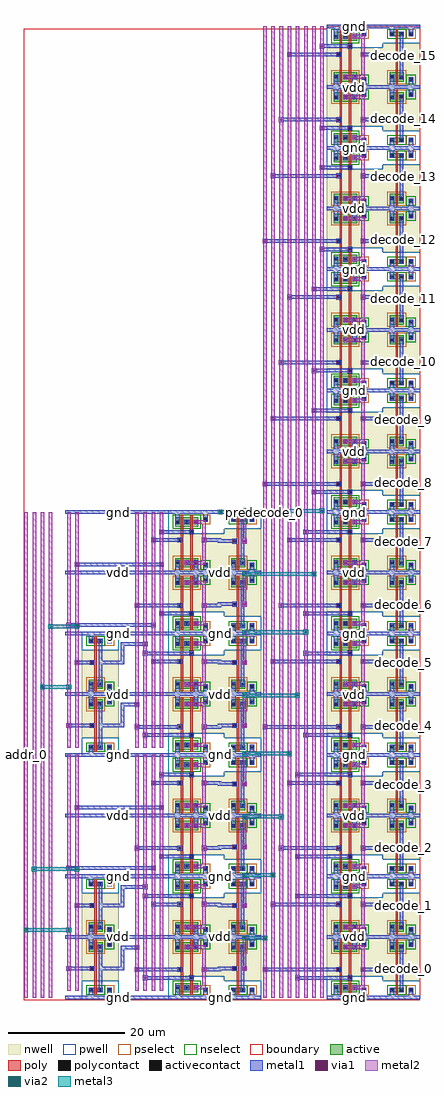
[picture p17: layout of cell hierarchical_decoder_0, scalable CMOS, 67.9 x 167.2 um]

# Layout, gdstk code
import gdstk
lib = gdstk.Library(unit=1e-6, precision=1e-09)
def R(c, l, rs):  # rectangles x0, y0, x1, y1
    for r in rs: c.add(gdstk.rectangle(r[:2], r[2:], *l))
def A(c, l, x, y, w, h, nx, ny, dx, dy):  # array of equal rectangles
    R(c, l, [(x+i*dx, y+j*dy, x+i*dx+w, y+j*dy+h) for i in range(nx) for j in range(ny)])
pwell = (41, 0)
nwell = (42, 0)
active = (43, 0)
pselect = (44, 0)
nselect = (45, 0)
poly = (46, 0)
polycontact = (47, 0)
activecontact = (48, 0)
metal1 = (49, 0)
via1 = (50, 0)
metal2 = (51, 0)
via2 = (61, 0)
metal3 = (62, 0)
boundary = (63, 0)

contact_9 = lib.new_cell('contact_9')
R(contact_9, nwell, [(-1.2,-1.2,2,2)])
R(contact_9, active, [(0,0,0.8,0.8)])
R(contact_9, pselect, [(-0.4,-0.4,1.2,1.2)])
R(contact_9, activecontact, [(0.2,0.2,0.6,0.6)])
R(contact_9, metal1, [(0,0,0.8,0.8)])

pmos_m1_w1_600_a_p = lib.new_cell('pmos_m1_w1_600_a_p')
R(pmos_m1_w1_600_a_p, nwell, [(-1.2,-1.2,3.6,2.8)])
R(pmos_m1_w1_600_a_p, active, [(0,0,2.4,1.6)])
R(pmos_m1_w1_600_a_p, pselect, [(-0.4,-0.4,2.8,2)])
R(pmos_m1_w1_600_a_p, poly, [(1,-0.4,1.4,2), (1,-0.4,1.4,2)])
R(pmos_m1_w1_600_a_p, metal1, [(0,0.4,0.8,1.2), (1.6,0.4,2.4,1.2)])
pmos_m1_w1_600_a_p.add(gdstk.Reference(contact_9, (0,0.4)))
pmos_m1_w1_600_a_p.add(gdstk.Reference(contact_9, (1.6,0.4)))
pmos_m1_w1_600_a_p.add(gdstk.Label('G', (1.2,0.8), layer=46, texttype=0))
pmos_m1_w1_600_a_p.add(gdstk.Label('S', (0.4,0.8), layer=49, texttype=0))
pmos_m1_w1_600_a_p.add(gdstk.Label('D', (2,0.8), layer=49, texttype=0))

contact_14 = lib.new_cell('contact_14')
R(contact_14, pwell, [(-1.2,-1.2,2,2)])
R(contact_14, active, [(0,0,0.8,0.8)])
R(contact_14, nselect, [(-0.4,-0.4,1.2,1.2)])
R(contact_14, activecontact, [(0.2,0.2,0.6,0.6)])
R(contact_14, metal1, [(0,0,0.8,0.8)])

nmos_m1_w0_800_a_p = lib.new_cell('nmos_m1_w0_800_a_p')
R(nmos_m1_w0_800_a_p, pwell, [(-1.2,-1.2,3.6,2)])
R(nmos_m1_w0_800_a_p, active, [(0,0,2.4,0.8)])
R(nmos_m1_w0_800_a_p, nselect, [(-0.4,-0.4,2.8,1.2)])
R(nmos_m1_w0_800_a_p, poly, [(1,-0.4,1.4,1.2), (1,-0.4,1.4,1.2)])
R(nmos_m1_w0_800_a_p, metal1, [(0,0,0.8,0.8), (1.6,0,2.4,0.8)])
nmos_m1_w0_800_a_p.add(gdstk.Reference(contact_14, (0,0)))
nmos_m1_w0_800_a_p.add(gdstk.Reference(contact_14, (1.6,0)))
nmos_m1_w0_800_a_p.add(gdstk.Label('G', (1.2,0.4), layer=46, texttype=0))
nmos_m1_w0_800_a_p.add(gdstk.Label('S', (0.4,0.4), layer=49, texttype=0))
nmos_m1_w0_800_a_p.add(gdstk.Label('D', (2,0.4), layer=49, texttype=0))

contact_15 = lib.new_cell('contact_15')
R(contact_15, nwell, [(-1.2,-1.2,2,2)])
R(contact_15, active, [(0,0,0.8,0.8)])
R(contact_15, nselect, [(-0.4,-0.4,1.2,1.2)])
R(contact_15, activecontact, [(0.2,0.2,0.6,0.6)])
R(contact_15, metal1, [(0,0,0.8,0.8)])

contact_16 = lib.new_cell('contact_16')
R(contact_16, pwell, [(-1.2,-1.2,2,2)])
R(contact_16, active, [(0,0,0.8,0.8)])
R(contact_16, pselect, [(-0.4,-0.4,1.2,1.2)])
R(contact_16, activecontact, [(0.2,0.2,0.6,0.6)])
R(contact_16, metal1, [(0,0,0.8,0.8)])

contact_10 = lib.new_cell('contact_10')
R(contact_10, poly, [(0,0,0.8,0.8)])
R(contact_10, polycontact, [(0.2,0.2,0.6,0.6)])
R(contact_10, metal1, [(0,0,0.8,0.8)])

pinv_0 = lib.new_cell('pinv_0')
R(pinv_0, pwell, [(0,-0.3,6.4,2.9)])
R(pinv_0, nwell, [(0,2.9,6.4,10.7)])
R(pinv_0, poly, [(2.2,0.5,2.6,7.5), (1.8,4.6,2.2,5.4)])
R(pinv_0, metal1, [(0,-0.3,6.4,0.3), (1.2,-0.3,2,0.9), (4.4,0,5.2,1.3), (2.9,0.9,3.5,9.1), (1.4,4.6,2.2,5.4), (3.2,4.7,3.8,5.3), (1.2,8.3,2,10.7), (4.4,9.1,5.2,10.4), (0,10.1,6.4,10.7)])
R(pinv_0, boundary, [(0,0,6.4,10.4)])
pinv_0.add(gdstk.Reference(pmos_m1_w1_600_a_p, (1.2,7.9)))
pinv_0.add(gdstk.Reference(nmos_m1_w0_800_a_p, (1.2,0.9)))
pinv_0.add(gdstk.Reference(contact_15, (4.4,8.7)))
pinv_0.add(gdstk.Reference(contact_16, (4.4,0.9)))
pinv_0.add(gdstk.Reference(contact_10, (1.4,4.6)))
pinv_0.add(gdstk.Label('gnd', (3.2,0), layer=49, texttype=0))
pinv_0.add(gdstk.Label('vdd', (3.2,10.4), layer=49, texttype=0))
pinv_0.add(gdstk.Label('A', (1.8,5), layer=49, texttype=0))
pinv_0.add(gdstk.Label('Z', (3.5,5), layer=49, texttype=0))

nmos_m1_w1_600_a_p = lib.new_cell('nmos_m1_w1_600_a_p')
R(nmos_m1_w1_600_a_p, pwell, [(-1.2,-1.2,3.6,2.8)])
R(nmos_m1_w1_600_a_p, active, [(0,0,2.4,1.6)])
R(nmos_m1_w1_600_a_p, nselect, [(-0.4,-0.4,2.8,2)])
R(nmos_m1_w1_600_a_p, poly, [(1,-0.4,1.4,2), (1,-0.4,1.4,2)])
R(nmos_m1_w1_600_a_p, metal1, [(0,0.4,0.8,1.2), (1.6,0.4,2.4,1.2)])
nmos_m1_w1_600_a_p.add(gdstk.Reference(contact_14, (0,0.4)))
nmos_m1_w1_600_a_p.add(gdstk.Reference(contact_14, (1.6,0.4)))
nmos_m1_w1_600_a_p.add(gdstk.Label('G', (1.2,0.8), layer=46, texttype=0))
nmos_m1_w1_600_a_p.add(gdstk.Label('S', (0.4,0.8), layer=49, texttype=0))
nmos_m1_w1_600_a_p.add(gdstk.Label('D', (2,0.8), layer=49, texttype=0))

contact_17 = lib.new_cell('contact_17')
R(contact_17, metal1, [(0,0,0.8,0.8)])
R(contact_17, via1, [(0.2,0.2,0.6,0.6)])
R(contact_17, metal2, [(0,0,0.8,0.8)])

contact_18 = lib.new_cell('contact_18')
R(contact_18, metal1, [(0,0,0.8,0.8)])
R(contact_18, via1, [(0.2,0.2,0.6,0.6)])
R(contact_18, metal2, [(0,0,0.8,0.8)])

pnand2_0 = lib.new_cell('pnand2_0')
R(pnand2_0, pwell, [(0,-0.3,9.6,3.7)])
R(pnand2_0, nwell, [(0,3.7,9.6,10.7)])
R(pnand2_0, poly, [(2.2,0.5,2.6,7.5), (3.8,0.5,4.2,7.5), (3.8,3,4,3.8), (2,4.4,2.2,5.2)])
R(pnand2_0, metal1, [(0,-0.3,9.6,0.3), (1.2,-0.3,2,1.3), (6,0,6.8,1.3), (3.6,3,4.4,3.8), (1.6,4.4,2.4,5.2), (5.8,4.4,6.6,5.2), (1.2,8.3,2,10.7), (4.4,8.3,5.2,10.7), (6,9.1,6.8,10.4), (0,10.1,9.6,10.7)])
R(pnand2_0, metal2, [(4.8,1.4,6.2,2), (5.9,1.4,6.5,2), (5.9,1.7,6.5,4.8), (5.9,4.8,6.5,8.7), (3.2,8.4,6.2,9), (5.9,8.4,6.5,9)])
R(pnand2_0, boundary, [(0,0,9.6,10.4)])
pnand2_0.add(gdstk.Reference(pmos_m1_w1_600_a_p, (1.2,7.9)))
pnand2_0.add(gdstk.Reference(pmos_m1_w1_600_a_p, (2.8,7.9)))
pnand2_0.add(gdstk.Reference(nmos_m1_w1_600_a_p, (1.2,0.9)))
pnand2_0.add(gdstk.Reference(nmos_m1_w1_600_a_p, (2.8,0.9)))
pnand2_0.add(gdstk.Reference(contact_15, (6,8.7)))
pnand2_0.add(gdstk.Reference(contact_16, (6,0.9)))
pnand2_0.add(gdstk.Reference(contact_10, (3.6,3)))
pnand2_0.add(gdstk.Reference(contact_10, (1.6,4.4)))
pnand2_0.add(gdstk.Reference(contact_17, (2.8,8.3)))
pnand2_0.add(gdstk.Reference(contact_17, (4.4,1.3)))
pnand2_0.add(gdstk.Reference(contact_18, (5.8,4.4)))
pnand2_0.add(gdstk.Label('gnd', (4.8,0), layer=49, texttype=0))
pnand2_0.add(gdstk.Label('vdd', (4.8,10.4), layer=49, texttype=0))
pnand2_0.add(gdstk.Label('B', (4,3.4), layer=49, texttype=0))
pnand2_0.add(gdstk.Label('A', (2,4.8), layer=49, texttype=0))
pnand2_0.add(gdstk.Label('Z', (6.2,4.8), layer=49, texttype=0))

contact_5 = lib.new_cell('contact_5')
R(contact_5, metal1, [(0,0,0.8,0.8)])
R(contact_5, via1, [(0.2,0.2,0.6,0.6)])
R(contact_5, metal2, [(0,0,0.8,0.8)])

contact_6 = lib.new_cell('contact_6')
R(contact_6, metal2, [(0,0,0.8,0.8)])
R(contact_6, via2, [(0.2,0.2,0.6,0.6)])
R(contact_6, metal3, [(0,0,0.8,0.8)])

hierarchical_predecode2x = lib.new_cell('hierarchical_predecode2x4_0')
R(hierarchical_predecode2x, metal1, [(0,-0.3,33.6,0.3), (13.7,3.1,21.2,3.7), (12.3,4.5,19.2,5.1), (24.2,4.5,26.4,5.1), (26.1,4.5,26.7,5.1), (0.6,4.7,4.2,5.3), (6.6,4.7,9.8,5.3), (9.5,4.7,10.1,5.3), (26.1,4.7,26.7,5.3), (26.4,4.7,28.6,5.3), (30.4,4.7,31,5.3), (26.1,4.8,26.7,5), (9.5,5,10.1,8.6), (9.5,8.3,10.1,8.9), (9.8,8.3,12.3,8.9), (0,10.1,33.6,10.7), (0,10.1,33.6,10.7), (2,15.5,4.2,16.1), (6.6,15.5,9.8,16.1), (9.5,15.5,10.1,16.1), (26.1,15.5,26.7,16.1), (26.4,15.5,28.6,16.1), (30.4,15.5,31,16.1), (15.1,15.7,19.2,16.3), (24.2,15.7,26.4,16.3), (26.1,15.7,26.7,16.3), (9.5,15.8,10.1,19), (26.1,15.8,26.7,16), (13.7,17.1,21.2,17.7), (9.5,18.7,10.1,19.3), (9.8,18.7,13.7,19.3), (0,20.5,33.6,21.1), (0,20.5,33.6,21.1), (0.6,21.9,15.1,22.5), (16.5,23.9,21.2,24.5), (12.3,25.3,19.2,25.9), (24.2,25.3,26.4,25.9), (26.1,25.3,26.7,25.9), (26.1,25.5,26.7,26.1), (26.4,25.5,28.6,26.1), (30.4,25.5,31,26.1), (26.1,25.6,26.7,25.8), (0,30.9,33.6,31.5), (0,30.9,33.6,31.5), (2,32.3,16.5,32.9), (26.1,36.3,26.7,36.9), (26.4,36.3,28.6,36.9), (30.4,36.3,31,36.9), (15.1,36.5,19.2,37.1), (24.2,36.5,26.4,37.1), (26.1,36.5,26.7,37.1), (26.1,36.6,26.7,36.8), (16.5,37.9,21.2,38.5), (0,41.3,33.6,41.9)])
A(hierarchical_predecode2x, metal2, 12, 1.2, 0.6, 40.4, 4, 1, 1.4, 0)
R(hierarchical_predecode2x, metal2, [(0.3,1.2,0.9,41.6), (1.7,1.2,2.3,41.6)])
A(hierarchical_predecode2x, metal3, 8.8, -0.4, 0.8, 0.8, 1, 5, 0, 10.4)
A(hierarchical_predecode2x, metal3, 26.2, -0.4, 0.8, 0.8, 1, 5, 0, 10.4)
R(hierarchical_predecode2x, boundary, [(0,0,33.6,41.6)])
hierarchical_predecode2x.add(gdstk.Reference(pinv_0, (2.8,0)))
hierarchical_predecode2x.add(gdstk.Reference(pinv_0, (2.8,20.8), x_reflection=True))
hierarchical_predecode2x.add(gdstk.Reference(pinv_0, (27.2,0)))
hierarchical_predecode2x.add(gdstk.Reference(pinv_0, (27.2,20.8), x_reflection=True))
hierarchical_predecode2x.add(gdstk.Reference(pinv_0, (27.2,20.8)))
hierarchical_predecode2x.add(gdstk.Reference(pinv_0, (27.2,41.6), x_reflection=True))
hierarchical_predecode2x.add(gdstk.Reference(pnand2_0, (17.6,0)))
hierarchical_predecode2x.add(gdstk.Reference(pnand2_0, (17.6,20.8), x_reflection=True))
hierarchical_predecode2x.add(gdstk.Reference(pnand2_0, (17.6,20.8)))
hierarchical_predecode2x.add(gdstk.Reference(pnand2_0, (17.6,41.6), x_reflection=True))
hierarchical_predecode2x.add(gdstk.Reference(contact_18, (11.9,8.2)))
hierarchical_predecode2x.add(gdstk.Reference(contact_18, (0.2,4.6)))
hierarchical_predecode2x.add(gdstk.Reference(contact_18, (13.3,18.6)))
hierarchical_predecode2x.add(gdstk.Reference(contact_18, (1.6,15.4)))
hierarchical_predecode2x.add(gdstk.Reference(contact_18, (0.2,21.8)))
hierarchical_predecode2x.add(gdstk.Reference(contact_18, (14.7,21.8)))
hierarchical_predecode2x.add(gdstk.Reference(contact_18, (1.6,32.2)))
hierarchical_predecode2x.add(gdstk.Reference(contact_18, (16.1,32.2)))
hierarchical_predecode2x.add(gdstk.Reference(contact_18, (11.9,4.4)))
hierarchical_predecode2x.add(gdstk.Reference(contact_18, (13.3,3)))
hierarchical_predecode2x.add(gdstk.Reference(contact_18, (14.7,15.6)))
hierarchical_predecode2x.add(gdstk.Reference(contact_18, (13.3,17)))
hierarchical_predecode2x.add(gdstk.Reference(contact_18, (11.9,25.2)))
hierarchical_predecode2x.add(gdstk.Reference(contact_18, (16.1,23.8)))
hierarchical_predecode2x.add(gdstk.Reference(contact_18, (14.7,36.4)))
hierarchical_predecode2x.add(gdstk.Reference(contact_18, (16.1,37.8)))
hierarchical_predecode2x.add(gdstk.Reference(contact_5, (8.8,10)))
hierarchical_predecode2x.add(gdstk.Reference(contact_6, (8.8,10)))
hierarchical_predecode2x.add(gdstk.Reference(contact_5, (26.2,10)))
hierarchical_predecode2x.add(gdstk.Reference(contact_6, (26.2,10)))
hierarchical_predecode2x.add(gdstk.Reference(contact_5, (8.8,-0.4)))
hierarchical_predecode2x.add(gdstk.Reference(contact_6, (8.8,-0.4)))
hierarchical_predecode2x.add(gdstk.Reference(contact_5, (26.2,-0.4)))
hierarchical_predecode2x.add(gdstk.Reference(contact_6, (26.2,-0.4)))
hierarchical_predecode2x.add(gdstk.Reference(contact_5, (8.8,10)))
hierarchical_predecode2x.add(gdstk.Reference(contact_6, (8.8,10)))
hierarchical_predecode2x.add(gdstk.Reference(contact_5, (26.2,10)))
hierarchical_predecode2x.add(gdstk.Reference(contact_6, (26.2,10)))
hierarchical_predecode2x.add(gdstk.Reference(contact_5, (8.8,20.4)))
hierarchical_predecode2x.add(gdstk.Reference(contact_6, (8.8,20.4)))
hierarchical_predecode2x.add(gdstk.Reference(contact_5, (26.2,20.4)))
hierarchical_predecode2x.add(gdstk.Reference(contact_6, (26.2,20.4)))
hierarchical_predecode2x.add(gdstk.Reference(contact_5, (8.8,30.8)))
hierarchical_predecode2x.add(gdstk.Reference(contact_6, (8.8,30.8)))
hierarchical_predecode2x.add(gdstk.Reference(contact_5, (26.2,30.8)))
hierarchical_predecode2x.add(gdstk.Reference(contact_6, (26.2,30.8)))
hierarchical_predecode2x.add(gdstk.Reference(contact_5, (8.8,20.4)))
hierarchical_predecode2x.add(gdstk.Reference(contact_6, (8.8,20.4)))
hierarchical_predecode2x.add(gdstk.Reference(contact_5, (26.2,20.4)))
hierarchical_predecode2x.add(gdstk.Reference(contact_6, (26.2,20.4)))
hierarchical_predecode2x.add(gdstk.Reference(contact_5, (8.8,30.8)))
hierarchical_predecode2x.add(gdstk.Reference(contact_6, (8.8,30.8)))
hierarchical_predecode2x.add(gdstk.Reference(contact_5, (26.2,30.8)))
hierarchical_predecode2x.add(gdstk.Reference(contact_6, (26.2,30.8)))
hierarchical_predecode2x.add(gdstk.Reference(contact_5, (8.8,41.2)))
hierarchical_predecode2x.add(gdstk.Reference(contact_6, (8.8,41.2)))
hierarchical_predecode2x.add(gdstk.Reference(contact_5, (26.2,41.2)))
hierarchical_predecode2x.add(gdstk.Reference(contact_6, (26.2,41.2)))
hierarchical_predecode2x.add(gdstk.Label('in_0', (0.6,21.4), layer=51, texttype=0))
hierarchical_predecode2x.add(gdstk.Label('in_1', (2,21.4), layer=51, texttype=0))
hierarchical_predecode2x.add(gdstk.Label('out_0', (30.7,5), layer=49, texttype=0))
hierarchical_predecode2x.add(gdstk.Label('out_1', (30.7,15.8), layer=49, texttype=0))
hierarchical_predecode2x.add(gdstk.Label('out_2', (30.7,25.8), layer=49, texttype=0))
hierarchical_predecode2x.add(gdstk.Label('out_3', (30.7,36.6), layer=49, texttype=0))
hierarchical_predecode2x.add(gdstk.Label('vdd', (9.2,10.4), layer=62, texttype=0))
hierarchical_predecode2x.add(gdstk.Label('vdd', (9.2,31.2), layer=62, texttype=0))
hierarchical_predecode2x.add(gdstk.Label('vdd', (26.6,31.2), layer=62, texttype=0))
hierarchical_predecode2x.add(gdstk.Label('vdd', (26.6,10.4), layer=62, texttype=0))
hierarchical_predecode2x.add(gdstk.Label('gnd', (9.2,20.8), layer=62, texttype=0))
hierarchical_predecode2x.add(gdstk.Label('gnd', (9.2,0), layer=62, texttype=0))
hierarchical_predecode2x.add(gdstk.Label('gnd', (9.2,41.6), layer=62, texttype=0))
hierarchical_predecode2x.add(gdstk.Label('gnd', (26.6,0), layer=62, texttype=0))
hierarchical_predecode2x.add(gdstk.Label('gnd', (26.6,20.8), layer=62, texttype=0))
hierarchical_predecode2x.add(gdstk.Label('gnd', (26.6,41.6), layer=62, texttype=0))

contact_7 = lib.new_cell('contact_7')
R(contact_7, metal2, [(0,0,0.8,0.8)])
R(contact_7, via2, [(0.2,0.2,0.6,0.6)])
R(contact_7, metal3, [(0,0,0.8,0.8)])

contact_20 = lib.new_cell('contact_20')
R(contact_20, metal2, [(0,0,0.8,0.8)])
R(contact_20, via2, [(0.2,0.2,0.6,0.6)])
R(contact_20, metal3, [(0,0,0.8,0.8)])

hierarchical_decoder_0 = lib.new_cell('hierarchical_decoder_0')
A(hierarchical_decoder_0, metal1, 51.9, 0.1, 16, 0.6, 1, 16, 0, 10.4)
A(hierarchical_decoder_0, metal1, 41.3, 4.9, 12.2, 0.6, 1, 4, 0, 41.6)
A(hierarchical_decoder_0, metal1, 42.7, 16.1, 10.8, 0.6, 1, 4, 0, 41.6)
A(hierarchical_decoder_0, metal1, 44.1, 25.7, 9.4, 0.6, 1, 4, 0, 41.6)
A(hierarchical_decoder_0, metal1, 45.5, 36.9, 8, 0.6, 1, 4, 0, 41.6)
R(hierarchical_decoder_0, metal1, [(46.9,3.5,55.5,4.1), (58.5,4.9,60.7,5.5), (60.4,4.9,61,5.5), (60.4,5.1,61,5.7), (60.7,5.1,62.9,5.7), (64.7,5.1,65.3,5.7), (60.4,5.2,61,5.4), (60.4,15.9,61,16.5), (60.7,15.9,62.9,16.5), (64.7,15.9,65.3,16.5), (58.5,16.1,60.7,16.7), (60.4,16.1,61,16.7), (60.4,16.2,61,16.4), (46.9,17.5,55.5,18.1), (46.9,24.3,55.5,24.9), (58.5,25.7,60.7,26.3), (60.4,25.7,61,26.3), (60.4,25.9,61,26.5), (60.7,25.9,62.9,26.5), (64.7,25.9,65.3,26.5), (60.4,26,61,26.2), (60.4,36.7,61,37.3), (60.7,36.7,62.9,37.3), (64.7,36.7,65.3,37.3), (58.5,36.9,60.7,37.5), (60.4,36.9,61,37.5), (60.4,37,61,37.2), (46.9,38.3,55.5,38.9), (48.3,45.1,55.5,45.7), (58.5,46.5,60.7,47.1), (60.4,46.5,61,47.1), (60.4,46.7,61,47.3), (60.7,46.7,62.9,47.3), (64.7,46.7,65.3,47.3), (60.4,46.8,61,47), (60.4,57.5,61,58.1), (60.7,57.5,62.9,58.1), (64.7,57.5,65.3,58.1), (58.5,57.7,60.7,58.3), (60.4,57.7,61,58.3), (60.4,57.8,61,58), (48.3,59.1,55.5,59.7), (48.3,65.9,55.5,66.5), (58.5,67.3,60.7,67.9), (60.4,67.3,61,67.9), (60.4,67.5,61,68.1), (60.7,67.5,62.9,68.1), (64.7,67.5,65.3,68.1), (60.4,67.6,61,67.8), (60.4,78.3,61,78.9), (60.7,78.3,62.9,78.9), (64.7,78.3,65.3,78.9), (58.5,78.5,60.7,79.1), (60.4,78.5,61,79.1), (60.4,78.6,61,78.8), (48.3,79.9,55.5,80.5), (49.7,86.7,55.5,87.3), (58.5,88.1,60.7,88.7), (60.4,88.1,61,88.7), (60.4,88.3,61,88.9), (60.7,88.3,62.9,88.9), (64.7,88.3,65.3,88.9), (60.4,88.4,61,88.6), (60.4,99.1,61,99.7), (60.7,99.1,62.9,99.7), (64.7,99.1,65.3,99.7), (58.5,99.3,60.7,99.9), (60.4,99.3,61,99.9), (60.4,99.4,61,99.6), (49.7,100.7,55.5,101.3), (49.7,107.5,55.5,108.1), (58.5,108.9,60.7,109.5), (60.4,108.9,61,109.5), (60.4,109.1,61,109.7), (60.7,109.1,62.9,109.7), (64.7,109.1,65.3,109.7), (60.4,109.2,61,109.4), (60.4,119.9,61,120.5), (60.7,119.9,62.9,120.5), (64.7,119.9,65.3,120.5), (58.5,120.1,60.7,120.7), (60.4,120.1,61,120.7), (60.4,120.2,61,120.4), (49.7,121.5,55.5,122.1), (51.1,128.3,55.5,128.9), (58.5,129.7,60.7,130.3), (60.4,129.7,61,130.3), (60.4,129.9,61,130.5), (60.7,129.9,62.9,130.5), (64.7,129.9,65.3,130.5), (60.4,130,61,130.2), (60.4,140.7,61,141.3), (60.7,140.7,62.9,141.3), (64.7,140.7,65.3,141.3), (58.5,140.9,60.7,141.5), (60.4,140.9,61,141.5), (60.4,141,61,141.2), (51.1,142.3,55.5,142.9), (51.1,149.1,55.5,149.7), (58.5,150.5,60.7,151.1), (60.4,150.5,61,151.1), (60.4,150.7,61,151.3), (60.7,150.7,62.9,151.3), (64.7,150.7,65.3,151.3), (60.4,150.8,61,151), (60.4,161.5,61,162.1), (60.7,161.5,62.9,162.1), (64.7,161.5,65.3,162.1), (58.5,161.7,60.7,162.3), (60.4,161.7,61,162.3), (60.4,161.8,61,162), (51.1,163.1,55.5,163.7)])
A(hierarchical_decoder_0, metal2, 0.1, 0.4, 0.6, 83.2, 4, 1, 1.4, 0)
A(hierarchical_decoder_0, metal2, 41, 0.4, 0.6, 166.4, 8, 1, 1.4, 0)
R(hierarchical_decoder_0, metal2, [(37.5,5.7,38.1,10.6), (37.5,16.5,38.1,21.4), (37.5,26.5,38.1,31.4), (37.5,37.3,38.1,42.2), (37.5,47.3,38.1,52.2), (37.5,58.1,38.1,63), (37.5,68.1,38.1,73), (37.5,78.9,38.1,83.8)])
A(hierarchical_decoder_0, metal3, 15.9, 0, 0.8, 0.8, 1, 9, 0, 10.4)
A(hierarchical_decoder_0, metal3, 33.3, 0, 0.8, 0.8, 1, 9, 0, 10.4)
A(hierarchical_decoder_0, metal3, 56.3, 0, 0.8, 0.8, 1, 17, 0, 10.4)
R(hierarchical_decoder_0, metal3, [(37.8,10.3,41.3,10.9), (0.4,11.7,7.7,12.3), (37.8,21.1,42.7,21.7), (1.8,22.1,9.1,22.7), (37.8,31.1,44.1,31.7), (37.8,41.9,45.5,42.5), (37.8,51.9,46.9,52.5), (3.2,53.3,7.7,53.9), (37.8,62.7,48.3,63.3), (4.6,63.7,9.1,64.3), (37.8,72.7,49.7,73.3), (37.8,83.5,51.1,84.1)])
R(hierarchical_decoder_0, boundary, [(0,0,67.8,166.4)])
hierarchical_decoder_0.add(gdstk.Reference(hierarchical_predecode2x, (7.1,0.4)))
hierarchical_decoder_0.add(gdstk.Reference(hierarchical_predecode2x, (7.1,42)))
hierarchical_decoder_0.add(gdstk.Reference(pnand2_0, (51.9,0.4)))
hierarchical_decoder_0.add(gdstk.Reference(pnand2_0, (51.9,21.2), x_reflection=True))
hierarchical_decoder_0.add(gdstk.Reference(pnand2_0, (51.9,21.2)))
hierarchical_decoder_0.add(gdstk.Reference(pnand2_0, (51.9,42), x_reflection=True))
hierarchical_decoder_0.add(gdstk.Reference(pnand2_0, (51.9,42)))
hierarchical_decoder_0.add(gdstk.Reference(pnand2_0, (51.9,62.8), x_reflection=True))
hierarchical_decoder_0.add(gdstk.Reference(pnand2_0, (51.9,62.8)))
hierarchical_decoder_0.add(gdstk.Reference(pnand2_0, (51.9,83.6), x_reflection=True))
hierarchical_decoder_0.add(gdstk.Reference(pnand2_0, (51.9,83.6)))
hierarchical_decoder_0.add(gdstk.Reference(pnand2_0, (51.9,104.4), x_reflection=True))
hierarchical_decoder_0.add(gdstk.Reference(pnand2_0, (51.9,104.4)))
hierarchical_decoder_0.add(gdstk.Reference(pnand2_0, (51.9,125.2), x_reflection=True))
hierarchical_decoder_0.add(gdstk.Reference(pnand2_0, (51.9,125.2)))
hierarchical_decoder_0.add(gdstk.Reference(pnand2_0, (51.9,146), x_reflection=True))
hierarchical_decoder_0.add(gdstk.Reference(pnand2_0, (51.9,146)))
hierarchical_decoder_0.add(gdstk.Reference(pnand2_0, (51.9,166.8), x_reflection=True))
hierarchical_decoder_0.add(gdstk.Reference(pinv_0, (61.5,0.4)))
hierarchical_decoder_0.add(gdstk.Reference(pinv_0, (61.5,21.2), x_reflection=True))
hierarchical_decoder_0.add(gdstk.Reference(pinv_0, (61.5,21.2)))
hierarchical_decoder_0.add(gdstk.Reference(pinv_0, (61.5,42), x_reflection=True))
hierarchical_decoder_0.add(gdstk.Reference(pinv_0, (61.5,42)))
hierarchical_decoder_0.add(gdstk.Reference(pinv_0, (61.5,62.8), x_reflection=True))
hierarchical_decoder_0.add(gdstk.Reference(pinv_0, (61.5,62.8)))
hierarchical_decoder_0.add(gdstk.Reference(pinv_0, (61.5,83.6), x_reflection=True))
hierarchical_decoder_0.add(gdstk.Reference(pinv_0, (61.5,83.6)))
hierarchical_decoder_0.add(gdstk.Reference(pinv_0, (61.5,104.4), x_reflection=True))
hierarchical_decoder_0.add(gdstk.Reference(pinv_0, (61.5,104.4)))
hierarchical_decoder_0.add(gdstk.Reference(pinv_0, (61.5,125.2), x_reflection=True))
hierarchical_decoder_0.add(gdstk.Reference(pinv_0, (61.5,125.2)))
hierarchical_decoder_0.add(gdstk.Reference(pinv_0, (61.5,146), x_reflection=True))
hierarchical_decoder_0.add(gdstk.Reference(pinv_0, (61.5,146)))
hierarchical_decoder_0.add(gdstk.Reference(pinv_0, (61.5,166.8), x_reflection=True))
hierarchical_decoder_0.add(gdstk.Reference(contact_7, (7.3,11.6)))
hierarchical_decoder_0.add(gdstk.Reference(contact_7, (0,11.6)))
hierarchical_decoder_0.add(gdstk.Reference(contact_7, (8.7,22)))
hierarchical_decoder_0.add(gdstk.Reference(contact_7, (1.4,22)))
hierarchical_decoder_0.add(gdstk.Reference(contact_7, (7.3,53.2)))
hierarchical_decoder_0.add(gdstk.Reference(contact_7, (2.8,53.2)))
hierarchical_decoder_0.add(gdstk.Reference(contact_7, (8.7,63.6)))
hierarchical_decoder_0.add(gdstk.Reference(contact_7, (4.2,63.6)))
hierarchical_decoder_0.add(gdstk.Reference(contact_18, (37.4,5)))
hierarchical_decoder_0.add(gdstk.Reference(contact_20, (37.4,10.2)))
hierarchical_decoder_0.add(gdstk.Reference(contact_7, (40.9,10.2)))
hierarchical_decoder_0.add(gdstk.Reference(contact_18, (37.4,15.8)))
hierarchical_decoder_0.add(gdstk.Reference(contact_20, (37.4,21)))
hierarchical_decoder_0.add(gdstk.Reference(contact_7, (42.3,21)))
hierarchical_decoder_0.add(gdstk.Reference(contact_18, (37.4,25.8)))
hierarchical_decoder_0.add(gdstk.Reference(contact_20, (37.4,31)))
hierarchical_decoder_0.add(gdstk.Reference(contact_7, (43.7,31)))
hierarchical_decoder_0.add(gdstk.Reference(contact_18, (37.4,36.6)))
hierarchical_decoder_0.add(gdstk.Reference(contact_20, (37.4,41.8)))
hierarchical_decoder_0.add(gdstk.Reference(contact_7, (45.1,41.8)))
hierarchical_decoder_0.add(gdstk.Reference(contact_18, (37.4,46.6)))
hierarchical_decoder_0.add(gdstk.Reference(contact_20, (37.4,51.8)))
hierarchical_decoder_0.add(gdstk.Reference(contact_7, (46.5,51.8)))
hierarchical_decoder_0.add(gdstk.Reference(contact_18, (37.4,57.4)))
hierarchical_decoder_0.add(gdstk.Reference(contact_20, (37.4,62.6)))
hierarchical_decoder_0.add(gdstk.Reference(contact_7, (47.9,62.6)))
hierarchical_decoder_0.add(gdstk.Reference(contact_18, (37.4,67.4)))
hierarchical_decoder_0.add(gdstk.Reference(contact_20, (37.4,72.6)))
hierarchical_decoder_0.add(gdstk.Reference(contact_7, (49.3,72.6)))
hierarchical_decoder_0.add(gdstk.Reference(contact_18, (37.4,78.2)))
hierarchical_decoder_0.add(gdstk.Reference(contact_20, (37.4,83.4)))
hierarchical_decoder_0.add(gdstk.Reference(contact_7, (50.7,83.4)))
hierarchical_decoder_0.add(gdstk.Reference(contact_18, (40.9,4.8)))
hierarchical_decoder_0.add(gdstk.Reference(contact_18, (46.5,3.4)))
hierarchical_decoder_0.add(gdstk.Reference(contact_18, (42.3,16)))
hierarchical_decoder_0.add(gdstk.Reference(contact_18, (46.5,17.4)))
hierarchical_decoder_0.add(gdstk.Reference(contact_18, (43.7,25.6)))
hierarchical_decoder_0.add(gdstk.Reference(contact_18, (46.5,24.2)))
hierarchical_decoder_0.add(gdstk.Reference(contact_18, (45.1,36.8)))
hierarchical_decoder_0.add(gdstk.Reference(contact_18, (46.5,38.2)))
hierarchical_decoder_0.add(gdstk.Reference(contact_18, (40.9,46.4)))
hierarchical_decoder_0.add(gdstk.Reference(contact_18, (47.9,45)))
hierarchical_decoder_0.add(gdstk.Reference(contact_18, (42.3,57.6)))
hierarchical_decoder_0.add(gdstk.Reference(contact_18, (47.9,59)))
hierarchical_decoder_0.add(gdstk.Reference(contact_18, (43.7,67.2)))
hierarchical_decoder_0.add(gdstk.Reference(contact_18, (47.9,65.8)))
hierarchical_decoder_0.add(gdstk.Reference(contact_18, (45.1,78.4)))
hierarchical_decoder_0.add(gdstk.Reference(contact_18, (47.9,79.8)))
hierarchical_decoder_0.add(gdstk.Reference(contact_18, (40.9,88)))
hierarchical_decoder_0.add(gdstk.Reference(contact_18, (49.3,86.6)))
hierarchical_decoder_0.add(gdstk.Reference(contact_18, (42.3,99.2)))
hierarchical_decoder_0.add(gdstk.Reference(contact_18, (49.3,100.6)))
hierarchical_decoder_0.add(gdstk.Reference(contact_18, (43.7,108.8)))
hierarchical_decoder_0.add(gdstk.Reference(contact_18, (49.3,107.4)))
hierarchical_decoder_0.add(gdstk.Reference(contact_18, (45.1,120)))
hierarchical_decoder_0.add(gdstk.Reference(contact_18, (49.3,121.4)))
hierarchical_decoder_0.add(gdstk.Reference(contact_18, (40.9,129.6)))
hierarchical_decoder_0.add(gdstk.Reference(contact_18, (50.7,128.2)))
hierarchical_decoder_0.add(gdstk.Reference(contact_18, (42.3,140.8)))
hierarchical_decoder_0.add(gdstk.Reference(contact_18, (50.7,142.2)))
hierarchical_decoder_0.add(gdstk.Reference(contact_18, (43.7,150.4)))
hierarchical_decoder_0.add(gdstk.Reference(contact_18, (50.7,149)))
hierarchical_decoder_0.add(gdstk.Reference(contact_18, (45.1,161.6)))
hierarchical_decoder_0.add(gdstk.Reference(contact_18, (50.7,163)))
hierarchical_decoder_0.add(gdstk.Reference(contact_5, (56.3,10.4)))
hierarchical_decoder_0.add(gdstk.Reference(contact_6, (56.3,10.4)))
hierarchical_decoder_0.add(gdstk.Reference(contact_5, (56.3,0)))
hierarchical_decoder_0.add(gdstk.Reference(contact_6, (56.3,0)))
hierarchical_decoder_0.add(gdstk.Reference(contact_5, (56.3,10.4)))
hierarchical_decoder_0.add(gdstk.Reference(contact_6, (56.3,10.4)))
hierarchical_decoder_0.add(gdstk.Reference(contact_5, (56.3,20.8)))
hierarchical_decoder_0.add(gdstk.Reference(contact_6, (56.3,20.8)))
hierarchical_decoder_0.add(gdstk.Reference(contact_5, (56.3,31.2)))
hierarchical_decoder_0.add(gdstk.Reference(contact_6, (56.3,31.2)))
hierarchical_decoder_0.add(gdstk.Reference(contact_5, (56.3,20.8)))
hierarchical_decoder_0.add(gdstk.Reference(contact_6, (56.3,20.8)))
hierarchical_decoder_0.add(gdstk.Reference(contact_5, (56.3,31.2)))
hierarchical_decoder_0.add(gdstk.Reference(contact_6, (56.3,31.2)))
hierarchical_decoder_0.add(gdstk.Reference(contact_5, (56.3,41.6)))
hierarchical_decoder_0.add(gdstk.Reference(contact_6, (56.3,41.6)))
hierarchical_decoder_0.add(gdstk.Reference(contact_5, (56.3,52)))
hierarchical_decoder_0.add(gdstk.Reference(contact_6, (56.3,52)))
hierarchical_decoder_0.add(gdstk.Reference(contact_5, (56.3,41.6)))
hierarchical_decoder_0.add(gdstk.Reference(contact_6, (56.3,41.6)))
hierarchical_decoder_0.add(gdstk.Reference(contact_5, (56.3,52)))
hierarchical_decoder_0.add(gdstk.Reference(contact_6, (56.3,52)))
hierarchical_decoder_0.add(gdstk.Reference(contact_5, (56.3,62.4)))
hierarchical_decoder_0.add(gdstk.Reference(contact_6, (56.3,62.4)))
hierarchical_decoder_0.add(gdstk.Reference(contact_5, (56.3,72.8)))
hierarchical_decoder_0.add(gdstk.Reference(contact_6, (56.3,72.8)))
hierarchical_decoder_0.add(gdstk.Reference(contact_5, (56.3,62.4)))
hierarchical_decoder_0.add(gdstk.Reference(contact_6, (56.3,62.4)))
hierarchical_decoder_0.add(gdstk.Reference(contact_5, (56.3,72.8)))
hierarchical_decoder_0.add(gdstk.Reference(contact_6, (56.3,72.8)))
hierarchical_decoder_0.add(gdstk.Reference(contact_5, (56.3,83.2)))
hierarchical_decoder_0.add(gdstk.Reference(contact_6, (56.3,83.2)))
hierarchical_decoder_0.add(gdstk.Reference(contact_5, (56.3,93.6)))
hierarchical_decoder_0.add(gdstk.Reference(contact_6, (56.3,93.6)))
hierarchical_decoder_0.add(gdstk.Reference(contact_5, (56.3,83.2)))
hierarchical_decoder_0.add(gdstk.Reference(contact_6, (56.3,83.2)))
hierarchical_decoder_0.add(gdstk.Reference(contact_5, (56.3,93.6)))
hierarchical_decoder_0.add(gdstk.Reference(contact_6, (56.3,93.6)))
hierarchical_decoder_0.add(gdstk.Reference(contact_5, (56.3,104)))
hierarchical_decoder_0.add(gdstk.Reference(contact_6, (56.3,104)))
hierarchical_decoder_0.add(gdstk.Reference(contact_5, (56.3,114.4)))
hierarchical_decoder_0.add(gdstk.Reference(contact_6, (56.3,114.4)))
hierarchical_decoder_0.add(gdstk.Reference(contact_5, (56.3,104)))
hierarchical_decoder_0.add(gdstk.Reference(contact_6, (56.3,104)))
hierarchical_decoder_0.add(gdstk.Reference(contact_5, (56.3,114.4)))
hierarchical_decoder_0.add(gdstk.Reference(contact_6, (56.3,114.4)))
hierarchical_decoder_0.add(gdstk.Reference(contact_5, (56.3,124.8)))
hierarchical_decoder_0.add(gdstk.Reference(contact_6, (56.3,124.8)))
hierarchical_decoder_0.add(gdstk.Reference(contact_5, (56.3,135.2)))
hierarchical_decoder_0.add(gdstk.Reference(contact_6, (56.3,135.2)))
hierarchical_decoder_0.add(gdstk.Reference(contact_5, (56.3,124.8)))
hierarchical_decoder_0.add(gdstk.Reference(contact_6, (56.3,124.8)))
hierarchical_decoder_0.add(gdstk.Reference(contact_5, (56.3,135.2)))
hierarchical_decoder_0.add(gdstk.Reference(contact_6, (56.3,135.2)))
hierarchical_decoder_0.add(gdstk.Reference(contact_5, (56.3,145.6)))
hierarchical_decoder_0.add(gdstk.Reference(contact_6, (56.3,145.6)))
hierarchical_decoder_0.add(gdstk.Reference(contact_5, (56.3,156)))
hierarchical_decoder_0.add(gdstk.Reference(contact_6, (56.3,156)))
hierarchical_decoder_0.add(gdstk.Reference(contact_5, (56.3,145.6)))
hierarchical_decoder_0.add(gdstk.Reference(contact_6, (56.3,145.6)))
hierarchical_decoder_0.add(gdstk.Reference(contact_5, (56.3,156)))
hierarchical_decoder_0.add(gdstk.Reference(contact_6, (56.3,156)))
hierarchical_decoder_0.add(gdstk.Reference(contact_5, (56.3,166.4)))
hierarchical_decoder_0.add(gdstk.Reference(contact_6, (56.3,166.4)))
hierarchical_decoder_0.add(gdstk.Label('decode_0', (65,5.4), layer=49, texttype=0))
hierarchical_decoder_0.add(gdstk.Label('decode_1', (65,16.2), layer=49, texttype=0))
hierarchical_decoder_0.add(gdstk.Label('decode_2', (65,26.2), layer=49, texttype=0))
hierarchical_decoder_0.add(gdstk.Label('decode_3', (65,37), layer=49, texttype=0))
hierarchical_decoder_0.add(gdstk.Label('decode_4', (65,47), layer=49, texttype=0))
hierarchical_decoder_0.add(gdstk.Label('decode_5', (65,57.8), layer=49, texttype=0))
hierarchical_decoder_0.add(gdstk.Label('decode_6', (65,67.8), layer=49, texttype=0))
hierarchical_decoder_0.add(gdstk.Label('decode_7', (65,78.6), layer=49, texttype=0))
hierarchical_decoder_0.add(gdstk.Label('decode_8', (65,88.6), layer=49, texttype=0))
hierarchical_decoder_0.add(gdstk.Label('decode_9', (65,99.4), layer=49, texttype=0))
hierarchical_decoder_0.add(gdstk.Label('decode_10', (65,109.4), layer=49, texttype=0))
hierarchical_decoder_0.add(gdstk.Label('decode_11', (65,120.2), layer=49, texttype=0))
hierarchical_decoder_0.add(gdstk.Label('decode_12', (65,130.2), layer=49, texttype=0))
hierarchical_decoder_0.add(gdstk.Label('decode_13', (65,141), layer=49, texttype=0))
hierarchical_decoder_0.add(gdstk.Label('decode_14', (65,151), layer=49, texttype=0))
hierarchical_decoder_0.add(gdstk.Label('decode_15', (65,161.8), layer=49, texttype=0))
hierarchical_decoder_0.add(gdstk.Label('addr_0', (0.4,42), layer=51, texttype=0))
hierarchical_decoder_0.add(gdstk.Label('addr_1', (1.8,42), layer=51, texttype=0))
hierarchical_decoder_0.add(gdstk.Label('addr_2', (3.2,42), layer=51, texttype=0))
hierarchical_decoder_0.add(gdstk.Label('addr_3', (4.6,42), layer=51, texttype=0))
hierarchical_decoder_0.add(gdstk.Label('predecode_0', (41.3,83.6), layer=51, texttype=0))
hierarchical_decoder_0.add(gdstk.Label('predecode_1', (42.7,83.6), layer=51, texttype=0))
hierarchical_decoder_0.add(gdstk.Label('predecode_2', (44.1,83.6), layer=51, texttype=0))
hierarchical_decoder_0.add(gdstk.Label('predecode_3', (45.5,83.6), layer=51, texttype=0))
hierarchical_decoder_0.add(gdstk.Label('predecode_4', (46.9,83.6), layer=51, texttype=0))
hierarchical_decoder_0.add(gdstk.Label('predecode_5', (48.3,83.6), layer=51, texttype=0))
hierarchical_decoder_0.add(gdstk.Label('predecode_6', (49.7,83.6), layer=51, texttype=0))
hierarchical_decoder_0.add(gdstk.Label('predecode_7', (51.1,83.6), layer=51, texttype=0))
hierarchical_decoder_0.add(gdstk.Label('vdd', (56.7,31.6), layer=62, texttype=0))
hierarchical_decoder_0.add(gdstk.Label('vdd', (56.7,156.4), layer=62, texttype=0))
hierarchical_decoder_0.add(gdstk.Label('vdd', (56.7,52.4), layer=62, texttype=0))
hierarchical_decoder_0.add(gdstk.Label('vdd', (56.7,10.8), layer=62, texttype=0))
hierarchical_decoder_0.add(gdstk.Label('vdd', (56.7,94), layer=62, texttype=0))
hierarchical_decoder_0.add(gdstk.Label('vdd', (33.7,10.8), layer=62, texttype=0))
hierarchical_decoder_0.add(gdstk.Label('vdd', (56.7,135.6), layer=62, texttype=0))
hierarchical_decoder_0.add(gdstk.Label('vdd', (16.3,31.6), layer=62, texttype=0))
hierarchical_decoder_0.add(gdstk.Label('vdd', (33.7,31.6), layer=62, texttype=0))
hierarchical_decoder_0.add(gdstk.Label('vdd', (16.3,73.2), layer=62, texttype=0))
hierarchical_decoder_0.add(gdstk.Label('vdd', (16.3,52.4), layer=62, texttype=0))
hierarchical_decoder_0.add(gdstk.Label('vdd', (33.7,52.4), layer=62, texttype=0))
hierarchical_decoder_0.add(gdstk.Label('vdd', (33.7,73.2), layer=62, texttype=0))
hierarchical_decoder_0.add(gdstk.Label('vdd', (16.3,10.8), layer=62, texttype=0))
hierarchical_decoder_0.add(gdstk.Label('vdd', (56.7,114.8), layer=62, texttype=0))
hierarchical_decoder_0.add(gdstk.Label('vdd', (56.7,73.2), layer=62, texttype=0))
hierarchical_decoder_0.add(gdstk.Label('gnd', (56.7,166.8), layer=62, texttype=0))
hierarchical_decoder_0.add(gdstk.Label('gnd', (33.7,83.6), layer=62, texttype=0))
hierarchical_decoder_0.add(gdstk.Label('gnd', (16.3,62.8), layer=62, texttype=0))
hierarchical_decoder_0.add(gdstk.Label('gnd', (56.7,104.4), layer=62, texttype=0))
hierarchical_decoder_0.add(gdstk.Label('gnd', (16.3,83.6), layer=62, texttype=0))
hierarchical_decoder_0.add(gdstk.Label('gnd', (56.7,83.6), layer=62, texttype=0))
hierarchical_decoder_0.add(gdstk.Label('gnd', (16.3,21.2), layer=62, texttype=0))
hierarchical_decoder_0.add(gdstk.Label('gnd', (56.7,125.2), layer=62, texttype=0))
hierarchical_decoder_0.add(gdstk.Label('gnd', (33.7,42), layer=62, texttype=0))
hierarchical_decoder_0.add(gdstk.Label('gnd', (56.7,42), layer=62, texttype=0))
hierarchical_decoder_0.add(gdstk.Label('gnd', (56.7,21.2), layer=62, texttype=0))
hierarchical_decoder_0.add(gdstk.Label('gnd', (16.3,42), layer=62, texttype=0))
hierarchical_decoder_0.add(gdstk.Label('gnd', (33.7,62.8), layer=62, texttype=0))
hierarchical_decoder_0.add(gdstk.Label('gnd', (56.7,62.8), layer=62, texttype=0))
hierarchical_decoder_0.add(gdstk.Label('gnd', (33.7,0.4), layer=62, texttype=0))
hierarchical_decoder_0.add(gdstk.Label('gnd', (33.7,21.2), layer=62, texttype=0))
hierarchical_decoder_0.add(gdstk.Label('gnd', (16.3,0.4), layer=62, texttype=0))
hierarchical_decoder_0.add(gdstk.Label('gnd', (56.7,146), layer=62, texttype=0))
hierarchical_decoder_0.add(gdstk.Label('gnd', (56.7,0.4), layer=62, texttype=0))

lib.write_gds('hierarchical_decoder_0.gds')
